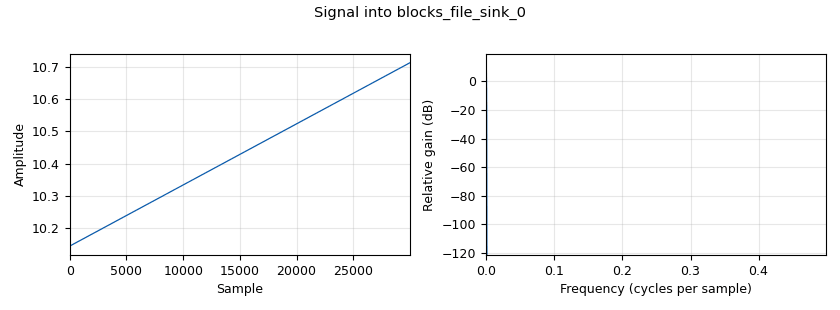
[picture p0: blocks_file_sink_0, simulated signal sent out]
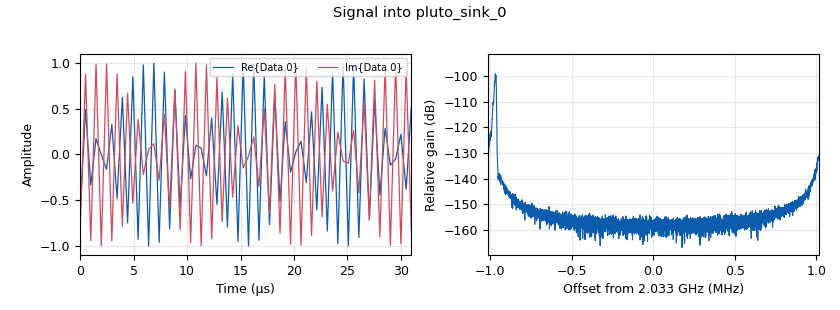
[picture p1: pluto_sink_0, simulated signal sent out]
<?xml version='1.0' encoding='utf-8'?>
<?grc format='1' created='3.7.11'?>
<flow_graph>
<block>
<key>options</key>
<param><key>id</key><value>top_block</value></param>
<param><key>generate_options</key><value>qt_gui</value></param>
</block>
<block>
<key>variable</key>
<param><key>id</key><value>deci</value></param>
<param><key>value</key><value>220</value></param>
</block>
<block>
<key>variable</key>
<param><key>id</key><value>del1</value></param>
<param><key>value</key><value>524880</value></param>
</block>
<block>
<key>variable</key>
<param><key>id</key><value>f_c</value></param>
<param><key>value</key><value>2</value></param>
</block>
<block>
<key>variable</key>
<param><key>id</key><value>f_dev</value></param>
<param><key>value</key><value>10</value></param>
</block>
<block>
<key>variable_qtgui_range</key>
<param><key>id</key><value>lo</value></param>
<param><key>value</key><value>2033000000</value></param>
<param><key>label</key><value>lo freq</value></param>
<param><key>orient</key><value>Qt.Horizontal</value></param>
<param><key>start</key><value>10000000</value></param>
<param><key>step</key><value>100000</value></param>
<param><key>stop</key><value>6000000000</value></param>
</block>
<block>
<key>variable_qtgui_range</key>
<param><key>id</key><value>q</value></param>
<param><key>value</key><value>10000</value></param>
<param><key>label</key><value>Q</value></param>
<param><key>orient</key><value>Qt.Horizontal</value></param>
<param><key>start</key><value>10000</value></param>
<param><key>step</key><value>1</value></param>
<param><key>stop</key><value>10000000</value></param>
<param><key>rangeType</key><value>int</value></param>
</block>
<block>
<key>variable</key>
<param><key>id</key><value>samp_rate</value></param>
<param><key>value</key><value>2032920</value></param>
</block>
<block>
<key>parameter</key>
<param><key>id</key><value>Pi</value></param>
<param><key>value</key><value>3.14159</value></param>
</block>
<block>
<key>analog_sig_source_x</key>
<param><key>id</key><value>analog_sig_source_x_0</value></param>
<param><key>amp</key><value>f_dev</value></param>
<param><key>freq</key><value>3.84615</value></param>
<param><key>offset</key><value>f_c</value></param>
<param><key>type</key><value>float</value></param>
<param><key>samp_rate</key><value>samp_rate</value></param>
<param><key>waveform</key><value>analog.GR_SAW_WAVE</value></param>
</block>
<block>
<key>blocks_complex_to_real</key>
<param><key>id</key><value>blocks_complex_to_real_0</value></param>
</block>
<block>
<key>blocks_file_sink</key>
<param><key>id</key><value>blocks_file_sink_0</value></param>
<param><key>file</key><value>/home/raidfire/gpr/data/test_saw.bin</value></param>
<param><key>type</key><value>float</value></param>
<param><key>unbuffered</key><value>True</value></param>
</block>
<block>
<key>blocks_file_sink</key>
<param><key>id</key><value>blocks_file_sink_0_0</value></param>
<param><key>file</key><value>/home/raidfire/gpr/data/test_multi.bin</value></param>
<param><key>type</key><value>float</value></param>
<param><key>unbuffered</key><value>True</value></param>
</block>
<block>
<key>blocks_head</key>
<param><key>id</key><value>blocks_head_0</value></param>
<param><key>num_items</key><value>20000000</value></param>
<param><key>type</key><value>float</value></param>
</block>
<block>
<key>blocks_head</key>
<param><key>id</key><value>blocks_head_1</value></param>
<param><key>num_items</key><value>20000000</value></param>
<param><key>type</key><value>complex</value></param>
</block>
<block>
<key>blocks_multiply_conjugate_cc</key>
<param><key>id</key><value>blocks_multiply_conjugate_cc_0</value></param>
</block>
<block>
<key>blocks_skiphead</key>
<param><key>id</key><value>blocks_skiphead_0</value></param>
<param><key>num_items</key><value>del1</value></param>
<param><key>type</key><value>complex</value></param>
</block>
<block>
<key>blocks_skiphead</key>
<param><key>id</key><value>blocks_skiphead_0_0</value></param>
<param><key>num_items</key><value>del1</value></param>
<param><key>type</key><value>float</value></param>
</block>
<block>
<key>blocks_vco_c</key>
<param><key>id</key><value>blocks_vco_c_0</value></param>
<param><key>amplitude</key><value>1</value></param>
<param><key>samp_rate</key><value>samp_rate</value></param>
<param><key>sensitivity</key><value>628318</value></param>
</block>
<block>
<key>parameter</key>
<param><key>id</key><value>chirp_time</value></param>
<param><key>value</key><value>260000000</value></param>
</block>
<block>
<key>pluto_sink</key>
<param><key>id</key><value>pluto_sink_0</value></param>
<param><key>attenuation</key><value>0</value></param>
<param><key>buffer_size</key><value>0x8000</value></param>
<param><key>cyclic</key><value>False</value></param>
<param><key>auto_filter</key><value>True</value></param>
<param><key>filter</key><value></value></param>
<param><key>uri</key><value>ip:pluto.local</value></param>
<param><key>interpolation</key><value>1</value></param>
<param><key>frequency</key><value>lo</value></param>
<param><key>bandwidth</key><value>1000000</value></param>
<param><key>samplerate</key><value>samp_rate</value></param>
</block>
<block>
<key>pluto_source</key>
<param><key>id</key><value>pluto_source_0</value></param>
<param><key>bbdc</key><value>True</value></param>
<param><key>buffer_size</key><value>0x8000</value></param>
<param><key>decimation</key><value>1</value></param>
<param><key>uri</key><value>ip:pluto.local</value></param>
<param><key>auto_filter</key><value>True</value></param>
<param><key>filter</key><value></value></param>
<param><key>gain</key><value>"manual"</value></param>
<param><key>frequency</key><value>lo</value></param>
<param><key>manual_gain</key><value>60</value></param>
<param><key>quadrature</key><value>False</value></param>
<param><key>rfdc</key><value>False</value></param>
<param><key>bandwidth</key><value>1000000</value></param>
<param><key>samplerate</key><value>samp_rate</value></param>
</block>
<block>
<key>qtgui_sink_x</key>
<param><key>id</key><value>qtgui_sink_x_0</value></param>
<param><key>bw</key><value>samp_rate</value></param>
<param><key>fc</key><value>0</value></param>
<param><key>freqchangevar</key><value>None</value></param>
<param><key>fftsize</key><value>1024</value></param>
<param><key>showports</key><value>True</value></param>
<param><key>type</key><value>complex</value></param>
<param><key>wintype</key><value>firdes.WIN_BLACKMAN_hARRIS</value></param>
</block>
<block>
<key>qtgui_time_sink_x</key>
<param><key>id</key><value>qtgui_time_sink_x_1</value></param>
<param><key>_enabled</key><value>0</value></param>
<param><key>color1</key><value>"blue"</value></param>
<param><key>label1</key><value></value></param>
<param><key>color2</key><value>"red"</value></param>
<param><key>label2</key><value></value></param>
<param><key>name</key><value>"OUTFORM"</value></param>
<param><key>size</key><value>1024</value></param>
<param><key>srate</key><value>samp_rate</value></param>
<param><key>type</key><value>complex</value></param>
</block>
<block>
<key>rational_resampler_xxx</key>
<param><key>id</key><value>rational_resampler_xxx_0</value></param>
<param><key>decim</key><value>deci</value></param>
<param><key>interp</key><value>1</value></param>
<param><key>taps</key><value></value></param>
<param><key>type</key><value>ccc</value></param>
</block>
<connection><source_block_id>analog_sig_source_x_0</source_block_id><sink_block_id>blocks_skiphead_0_0</sink_block_id><source_key>0</source_key><sink_key>0</sink_key></connection>
<connection><source_block_id>analog_sig_source_x_0</source_block_id><sink_block_id>blocks_vco_c_0</sink_block_id><source_key>0</source_key><sink_key>0</sink_key></connection>
<connection><source_block_id>blocks_complex_to_real_0</source_block_id><sink_block_id>blocks_file_sink_0_0</sink_block_id><source_key>0</source_key><sink_key>0</sink_key></connection>
<connection><source_block_id>blocks_head_0</source_block_id><sink_block_id>blocks_file_sink_0</sink_block_id><source_key>0</source_key><sink_key>0</sink_key></connection>
<connection><source_block_id>blocks_head_1</source_block_id><sink_block_id>blocks_multiply_conjugate_cc_0</sink_block_id><source_key>0</source_key><sink_key>0</sink_key></connection>
<connection><source_block_id>blocks_head_1</source_block_id><sink_block_id>pluto_sink_0</sink_block_id><source_key>0</source_key><sink_key>0</sink_key></connection>
<connection><source_block_id>blocks_multiply_conjugate_cc_0</source_block_id><sink_block_id>rational_resampler_xxx_0</sink_block_id><source_key>0</source_key><sink_key>0</sink_key></connection>
<connection><source_block_id>blocks_skiphead_0</source_block_id><sink_block_id>blocks_head_1</sink_block_id><source_key>0</source_key><sink_key>0</sink_key></connection>
<connection><source_block_id>blocks_skiphead_0_0</source_block_id><sink_block_id>blocks_head_0</sink_block_id><source_key>0</source_key><sink_key>0</sink_key></connection>
<connection><source_block_id>blocks_vco_c_0</source_block_id><sink_block_id>blocks_skiphead_0</sink_block_id><source_key>0</source_key><sink_key>0</sink_key></connection>
<connection><source_block_id>blocks_vco_c_0</source_block_id><sink_block_id>qtgui_time_sink_x_1</sink_block_id><source_key>0</source_key><sink_key>0</sink_key></connection>
<connection><source_block_id>pluto_source_0</source_block_id><sink_block_id>blocks_complex_to_real_0</sink_block_id><source_key>0</source_key><sink_key>0</sink_key></connection>
<connection><source_block_id>pluto_source_0</source_block_id><sink_block_id>blocks_multiply_conjugate_cc_0</sink_block_id><source_key>0</source_key><sink_key>1</sink_key></connection>
<connection><source_block_id>rational_resampler_xxx_0</source_block_id><sink_block_id>qtgui_sink_x_0</sink_block_id><source_key>0</source_key><sink_key>0</sink_key></connection>
</flow_graph>
